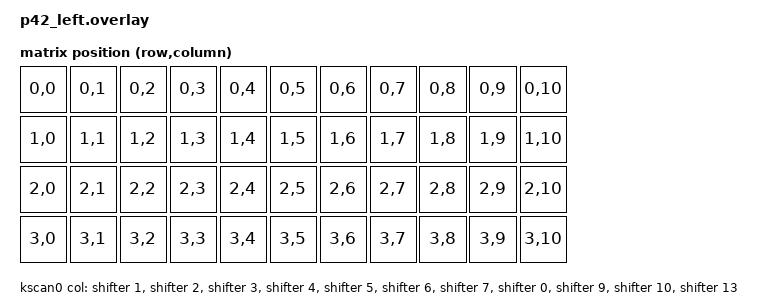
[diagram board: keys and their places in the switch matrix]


#include "p42.dtsi"



&kscan0 {
	diode-direction = "row2col";
    col-gpios =
        <&shifter 1 GPIO_ACTIVE_HIGH>,
        <&shifter 2 GPIO_ACTIVE_HIGH>,
        <&shifter 3  GPIO_ACTIVE_HIGH>,
        <&shifter 4 GPIO_ACTIVE_HIGH>,
        <&shifter 5  GPIO_ACTIVE_HIGH>,

        <&shifter 6  GPIO_ACTIVE_HIGH>,
        <&shifter 7  GPIO_ACTIVE_HIGH>,
        <&shifter 0  GPIO_ACTIVE_HIGH>,
        <&shifter 9  GPIO_ACTIVE_HIGH>,
        <&shifter 10  GPIO_ACTIVE_HIGH>,

        <&shifter 13  GPIO_ACTIVE_HIGH>;
};

/ {
    chosen {
        zmk,kscan = &kscan0;
        zmk,matrix-transform = &default_transform1;
    };

    default_transform1: matrix_transform {
        compatible = "zmk,matrix-transform";
        rows = <4>;           // 假设4行，如果不是请调整
        columns = <11>;       // 左手11 + 右手4 = 15列
        map = <
            // 左手半幅 (col 0-10) → position 0-43
            RC(0,0)  RC(0,1)  RC(0,2)  RC(0,3)  RC(0,4)  RC(0,5)  RC(0,6)  RC(0,7)  RC(0,8)  RC(0,9)  RC(0,10)
            RC(1,0)  RC(1,1)  RC(1,2)  RC(1,3)  RC(1,4)  RC(1,5)  RC(1,6)  RC(1,7)  RC(1,8)  RC(1,9)  RC(1,10)
            RC(2,0)  RC(2,1)  RC(2,2)  RC(2,3)  RC(2,4)  RC(2,5)  RC(2,6)  RC(2,7)  RC(2,8)  RC(2,9)  RC(2,10)
            RC(3,0)  RC(3,1)  RC(3,2)  RC(3,3)  RC(3,4)  RC(3,5)  RC(3,6)  RC(3,7)  RC(3,8)  RC(3,9)  RC(3,10)
            // 右手半幅 (col 11-14) → position 44-59

        >;
    };
};

/ {
    lfclk: lfclk {
        compatible = "fixed-clock";
        clock-frequency = <32768>;
        #clock-cells = <0>;
        status = "okay";
    };
};
&pinctrl {
    //74hc595 支持
    spi0_default: spi0_default {
        group1 {
            psels = <NRF_PSEL(SPIM_SCK, 0, 17)>,
                    <NRF_PSEL(SPIM_MOSI, 0, 9)>;
        };
    };
    spi0_sleep: spi0_sleep {
        group1 {
            psels = <NRF_PSEL(SPIM_SCK, 0, 17)>,
                    <NRF_PSEL(SPIM_MOSI, 0, 9)>;
            low-power-enable;
        };
    };
};


// 74hc595 支持
&spi0 {
    compatible = "nordic,nrf-spim";
    status = "okay";
    pinctrl-0 = <&spi0_default>;
    pinctrl-1 = <&spi0_sleep>;
    pinctrl-names = "default", "sleep";


    cs-gpios = <&gpio0 20 GPIO_ACTIVE_LOW>;// LATCH脚（STCP）

    shifter: 595@0 {
        compatible = "zmk,gpio-595";
        status = "okay";
        gpio-controller;
        spi-max-frequency = <200000>;
        reg = <0>; /* 对应上面 cs-gpios 的索引 0 */
        #gpio-cells = <2>;
        ngpios = <16>;  //595级联数量*8
    };
};


#include <dt-bindings/led/led.h>

&pinctrl {
    spi2_default: spi2_default {
        group1 {
            psels = <
                NRF_PSEL(SPIM_SCK, 0, 6)
                NRF_PSEL(SPIM_MOSI, 0, 5)
            >;

        };
    };

    spi2_sleep: spi2_sleep {
        group1 {
             psels = <
                NRF_PSEL(SPIM_SCK, 0, 6)
                NRF_PSEL(SPIM_MOSI, 0, 5)
            >;
            low-power-enable;
        };
    };
};

&spi2 {
    compatible = "nordic,nrf-spim";
    status = "okay";

    pinctrl-0 = <&spi2_default>;
    pinctrl-1 = <&spi2_sleep>;
    pinctrl-names = "default", "sleep";

    led_strip: ws2812@0 {
        compatible = "worldsemi,ws2812-spi";

               reg = <0>; /* ignored, but necessary for SPI bindings */
        spi-max-frequency = <4000000>;

        /* WS2812 */
        chain-length = <42>; /* number of LEDs */
        spi-one-frame = <0x70>;
        spi-zero-frame = <0x40>;
        color-mapping = <LED_COLOR_ID_GREEN
                         LED_COLOR_ID_RED
                         LED_COLOR_ID_BLUE>;
    };
};

// / {
//     ex2: ext_power {
//         compatible = "zmk,ext-power-generic";
//         control-gpios = <&gpio0 3 GPIO_ACTIVE_HIGH>;
//         init-delay-ms = <50>;
//     };
// };
    // Node name must match original "EXT_POWER" label to preserve user settings.



/
{
    chosen {
        // zmk,ext-power = &ex2;
        zmk,underglow = &led_strip;
    };

    EXT_POWER {
        compatible = "zmk,ext-power-generic";
        control-gpios = <&gpio0 3 GPIO_ACTIVE_HIGH>;
        init-delay-ms = <50>;
    };
};

/ {
    leds {
        compatible = "gpio-leds";

        led0: led_0 {
            gpios = <&gpio1 9 GPIO_ACTIVE_HIGH>;
        };
        led1: led_1 {
            gpios = <&gpio0 11 GPIO_ACTIVE_HIGH>;
        };
        led2: led_2 {
            gpios = <&gpio0 15 GPIO_ACTIVE_HIGH>;
        };
    };

    aliases {
        led0 = &led0;
        led1 = &led1;
        led2 = &led2;
    };
};



#include "donki36__esb_addr.dtsi"


/ {
    soc {
        pin-controller {
            #binding-cells = <0>;
        };
    };
};
